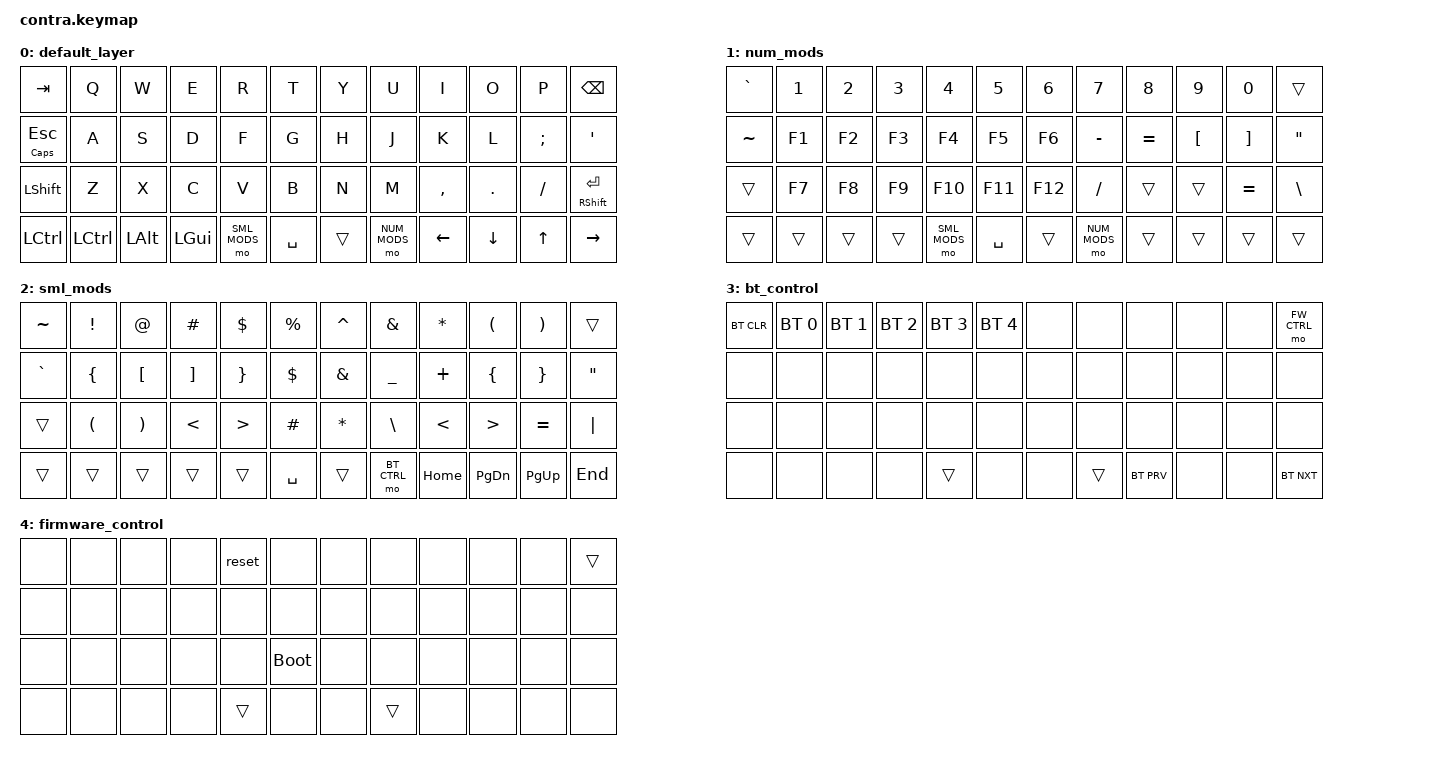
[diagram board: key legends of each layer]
/*
 * Copyright (c) 2021 The ZMK Contributors
 *
 * SPDX-License-Identifier: MIT
 */

#include <behaviors.dtsi>
#include <dt-bindings/zmk/keys.h>
#include <dt-bindings/zmk/bt.h>

#define DEFAULT  0
#define NUM_MODS 1
#define SML_MODS 2
#define BT_CTRL  3
#define FW_CTRL  4

/ {
    keymap {
        compatible = "zmk,keymap";

        default_layer {
            bindings = <
    &kp TAB         &kp Q      &kp W    &kp E     &kp R        &kp T      &kp Y   &kp U          &kp I     &kp O     &kp P     &kp BSPC
    &mt CAPS ESC    &kp A      &kp S    &kp D     &kp F        &kp G      &kp H   &kp J          &kp K     &kp L     &kp SEMI  &kp SQT
    &kp LSHFT       &kp Z      &kp X    &kp C     &kp V        &kp B      &kp N   &kp M          &kp COMMA &kp DOT   &kp FSLH  &mt RSHFT ENTER
    &kp LCTRL       &kp LCTRL  &kp LALT &kp LGUI  &mo SML_MODS &kp SPACE  &trans  &mo NUM_MODS   &kp LEFT  &kp DOWN  &kp UP    &kp RIGHT
            >;
        };

        num_mods {
            bindings = <
    &kp GRAVE  &kp N1   &kp N2   &kp N3   &kp N4        &kp N5     &kp N6   &kp N7        &kp N8    &kp N9     &kp N0     &trans
    &kp TILDE  &kp F1   &kp F2   &kp F3   &kp F4        &kp F5     &kp F6   &kp MINUS     &kp EQUAL &kp LBKT   &kp RBKT   &kp DQT
    &trans     &kp F7   &kp F8   &kp F9   &kp F10       &kp F11    &kp F12  &kp FSLH      &trans    &trans     &kp EQUAL  &kp BSLH
    &trans     &trans   &trans   &trans   &mo SML_MODS  &kp SPACE  &trans   &mo NUM_MODS  &trans    &trans     &trans     &trans
            >;
        };

        sml_mods {
            bindings = <
    &kp TILDE  &kp EXCL   &kp AT     &kp HASH   &kp DLLR   &kp PRCNT  &kp CARET  &kp AMPS    &kp ASTRK  &kp LPAR   &kp RPAR   &trans
    &kp GRAVE  &kp LBRC   &kp LBKT   &kp RBKT   &kp RBRC   &kp DLLR   &kp AMPS   &kp UNDER   &kp PLUS   &kp LBRC   &kp RBRC   &kp DQT
    &trans     &kp LPAR   &kp RPAR   &kp LT     &kp GT     &kp HASH   &kp ASTRK  &kp BSLH    &kp LT     &kp GT     &kp EQUAL  &kp PIPE
    &trans     &trans     &trans     &trans     &trans     &kp SPACE  &trans     &mo BT_CTRL &kp HOME   &kp PG_DN  &kp PG_UP  &kp END
            >;
        };

        bt_control {
            bindings = <
    &bt BT_CLR &bt BT_SEL 0 &bt BT_SEL 1 &bt BT_SEL 2 &bt BT_SEL 3 &bt BT_SEL 4 &none    &none    &none      &none   &none   &mo FW_CTRL
    &none      &none        &none        &none        &none        &none        &none    &none    &none      &none   &none   &none
    &none      &none        &none        &none        &none        &none        &none    &none    &none      &none   &none   &none
    &none      &none        &none        &none        &trans       &none        &none    &trans   &bt BT_PRV &none   &none   &bt BT_NXT
            >;
        };

        firmware_control {
            bindings = <
    &none  &none  &none  &none  &reset &none        &none    &none    &none   &none   &none   &trans
    &none  &none  &none  &none  &none  &none        &none    &none    &none   &none   &none   &none
    &none  &none  &none  &none  &none  &bootloader  &none    &none    &none   &none   &none   &none
    &none  &none  &none  &none  &trans &none        &none    &trans   &none   &none   &none   &none
            >;
        };
    };
};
